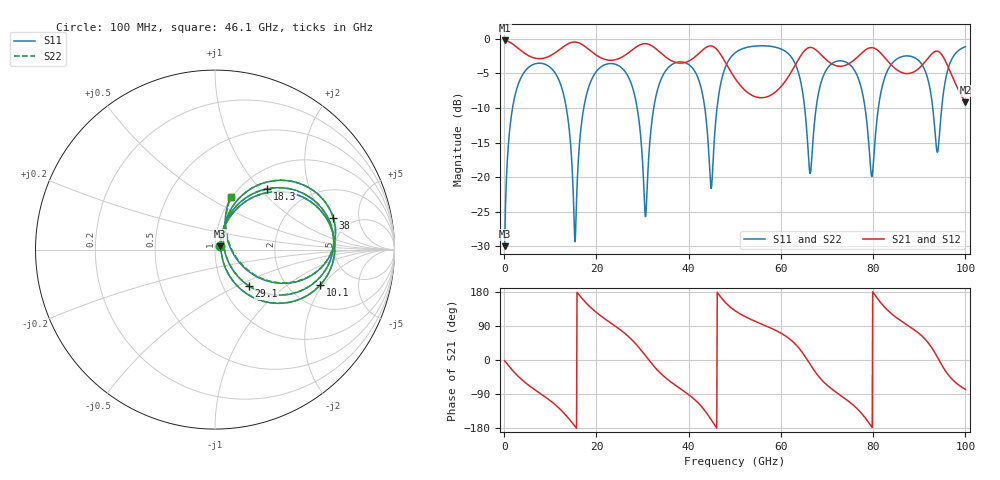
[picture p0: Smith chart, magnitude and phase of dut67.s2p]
! Touchstone file exported from HFSS 2026.1.0
!  File:  C:/ffzhzh/LocalFiles/Ansys_Project_Files/temp_train_TSV_RDL_67_1783625842_29156.aedt
!  Generated:  03:48:18 AM Jul 10, 2026
!  Design:  TSV_RDL
!  Project:  temp_train_TSV_RDL_67_1783625842_29156
! Variables:
!  h_bsmrdl = 3.05um
!  h_ox = 20um
!  h_rdl = 5um
!  h_sub = 81.04um
!  h_tmrdl = 4.54um
!  h_tsv = 81.04um
!  h_via = 3um
!  l_bsmrdl = 374.3um
!  l_sub = 3760.22um
!  l_tmrdl = 538.54um
!  m_sub = 200um
!  pitch = 56.46um
!  r_tsv = 7.54um
!  s_tmrdl = 10um
!  w_bsmrdl = 17.52um
!  w_sub = 500um
!  w_tmrdl = 10.2um
!  x_tsv_center1 = 543.64um
!  x_tsv_center2 = 935.46um
!  x_tsv_center3 = 1484.2um
!  x_tsv_center4 = 1876.02um
!  x_tsv_center5 = 2424.76um
!  x_tsv_center6 = 2816.58um
# GHz S MA R 50.000000
! Terminal data exported
! Port[1] = TM_RDL1_1_T1
! Port[2] = TM_RDL5_1_T1
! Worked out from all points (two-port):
!   1000 points, 100 MHz to 100 GHz, reference 50 ohm
!   highest |S21| = -0.22 dB at 100 MHz (marker M1); lowest = -9.2 dB at 100 GHz (marker M2)
!   |S21| within 3 dB of the highest: start of sweep to 36.46 GHz; 39.96 GHz to 47.82 GHz (7.86 GHz wide, 17.9 % of centre) (the widest 2 of 5)
!   lowest |S11| = -30.0 dB at 100 MHz (marker M3), VSWR 1.07, Z = 52.6 + j1.97 ohm
!   |S11| at or under -10 dB: 13.49 GHz to 17.26 GHz (3.772 GHz wide, 24.5 % of centre); 28.84 GHz to 32.43 GHz (3.586 GHz wide, 11.7 % of centre); 78.25 GHz to 81.13 GHz (2.876 GHz wide, 3.61 % of centre) (the widest 3 of 7)
!   |S22| runs from -30.0 to -1.0 dB; largest |S21 - S12| = 5e-12
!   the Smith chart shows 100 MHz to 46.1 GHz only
!   S11 on the Smith chart (normalised r, x): 100 MHz: 1.05, +0.04; 10.1 GHz: 2.93, -1.88; 18.3 GHz: 1.29, +1.09; 29.1 GHz: 1.32, -0.58; 38 GHz: 3.61, +2.40; 46.1 GHz: 0.99, +0.64
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0.1  0.03167 36.3  0.9748 -1.6  0.9748 -1.6  0.03167 36.3
! Gamma 0 0 0 0
! Port Impedance 50 0 50 0
2.8  0.4425 46.3  0.8686 -40.0  0.8686 -40.0  0.4425 46.3
10.1  0.6182 -18.7  0.759 -108.3  0.759 -108.3  0.6182 -18.6
15.3  0.03529 -14.0  0.9493 -173.9  0.9493 -173.9  0.03573 -13.8
16.8  0.2487 65.2  0.9148 163.8  0.9148 163.8  0.2487 65.1
18.3  0.4452 49.5  0.8419 144.0  0.8419 144.0  0.4452 49.5
23.8  0.6602 1.4  0.7036 91.9  0.7036 91.9  0.6601 1.5
29.1  0.2776 -47.0  0.8937 34.6  0.8937 34.6  0.2777 -46.7
30.7  0.05207 20.3  0.9242 10.2  0.9242 10.2  0.05283 20.3
33.4  0.4455 55.1  0.8219 -28.8  0.8219 -28.8  0.4457 55.2
38  0.6821 15.1  0.6684 -74.0  0.6684 -74.0  0.6822 15.2
44.8  0.08542 7.2  0.8901 -155.9  0.8901 -155.9  0.08874 7.8
46.1  0.3053 73.4  0.8407 -179.7  0.8407 -179.7  0.3062 72.9
50.1  0.7939 35.5  0.5158 129.7  0.5158 129.7  0.7941 35.5
62.9  0.6831 -39.2  0.6285 44.8  0.6285 44.8  0.683 -39.2
66.7  0.1386 23.5  0.8652 -18.2  0.8652 -18.2  0.1382 23.8
69.7  0.5853 21.5  0.713 -62.9  0.713 -62.9  0.5854 21.7
76.3  0.5653 -30.6  0.7249 -125.8  0.7249 -125.8  0.5655 -30.4
79.7  0.1008 1.2  0.8648 -176.5  0.8648 -176.5  0.102 1.4
83.4  0.6146 32.0  0.6775 128.4  0.6775 128.4  0.6147 32.1
93.9  0.1514 2.1  0.8147 8.2  0.8147 8.2  0.1558 2.2
100  0.8786 8.0  0.3475 -77.4  0.3475 -77.4  0.8786 7.9
